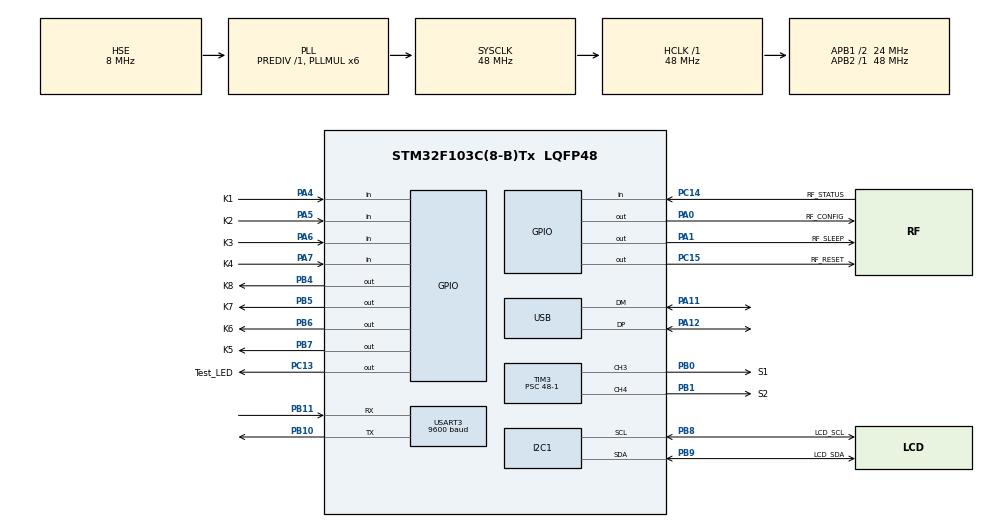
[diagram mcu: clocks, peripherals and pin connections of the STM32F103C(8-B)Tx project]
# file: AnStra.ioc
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Mcu.Family=STM32F1
Mcu.Name=STM32F103C(8-B)Tx
Mcu.Package=LQFP48
NVIC.PriorityGroup=NVIC_PRIORITYGROUP_4
NVIC.USART3_IRQn=true\:0\:0\:false\:false\:true\:true\:true
NVIC.USB_LP_CAN1_RX0_IRQn=true\:0\:0\:false\:false\:true\:false\:true
PA0-WKUP.GPIO_Label=RF_CONFIG
PA0-WKUP.PinState=GPIO_PIN_SET
PA0-WKUP.Signal=GPIO_Output
PA1.GPIO_Label=RF_SLEEP
PA1.Signal=GPIO_Output
PA11.Mode=Device
PA11.Signal=USB_DM
PA12.Mode=Device
PA12.Signal=USB_DP
PA13.Mode=Serial_Wire
PA13.Signal=SYS_JTMS-SWDIO
PA14.Mode=Serial_Wire
PA14.Signal=SYS_JTCK-SWCLK
PA4.GPIO_Label=K1
PA4.GPIO_PuPd=GPIO_PULLDOWN
PA4.Signal=GPIO_Input
PA5.GPIO_Label=K2
PA5.GPIO_PuPd=GPIO_PULLDOWN
PA5.Signal=GPIO_Input
PA6.GPIO_Label=K3
PA6.GPIO_PuPd=GPIO_PULLDOWN
PA6.Signal=GPIO_Input
PA7.GPIO_Label=K4
PA7.GPIO_PuPd=GPIO_PULLDOWN
PA7.Signal=GPIO_Input
PB0.GPIO_Label=S1
PB0.Signal=S_TIM3_CH3
PB1.GPIO_Label=S2
PB1.Signal=S_TIM3_CH4
PB10.Mode=Asynchronous
PB10.Signal=USART3_TX
PB11.Mode=Asynchronous
PB11.Signal=USART3_RX
PB4.GPIO_Label=K8
PB4.Signal=GPIO_Output
PB5.GPIO_Label=K7
PB5.Signal=GPIO_Output
PB6.GPIO_Label=K6
PB6.Signal=GPIO_Output
PB7.GPIO_Label=K5
PB7.Signal=GPIO_Output
PB8.GPIO_Label=LCD_SCL
PB8.Mode=I2C
PB8.Signal=I2C1_SCL
PB9.GPIO_Label=LCD_SDA
PB9.Mode=I2C
PB9.Signal=I2C1_SDA
PC13-TAMPER-RTC.GPIO_Label=Test_LED
PC13-TAMPER-RTC.Signal=GPIO_Output
PC14-OSC32_IN.GPIO_Label=RF_STATUS
PC14-OSC32_IN.Signal=GPIO_Input
PC15-OSC32_OUT.GPIO_Label=RF_RESET
PC15-OSC32_OUT.PinState=GPIO_PIN_SET
PC15-OSC32_OUT.Signal=GPIO_Output
PD0-OSC_IN.Mode=HSE-External-Oscillator
PD0-OSC_IN.Signal=RCC_OSC_IN
PD1-OSC_OUT.Mode=HSE-External-Oscillator
PD1-OSC_OUT.Signal=RCC_OSC_OUT
ProjectManager.HeapSize=0x200
ProjectManager.StackSize=0x400
ProjectManager.TargetToolchain=STM32CubeIDE
RCC.AHBFreq_Value=48000000
RCC.APB1CLKDivider=RCC_HCLK_DIV2
RCC.APB1Freq_Value=24000000
RCC.APB1TimFreq_Value=48000000
RCC.APB2Freq_Value=48000000
RCC.APB2TimFreq_Value=48000000
RCC.HCLKFreq_Value=48000000
RCC.PLLMUL=RCC_PLL_MUL6
RCC.PLLSourceVirtual=RCC_PLLSOURCE_HSE
RCC.SYSCLKFreq_VALUE=48000000
RCC.SYSCLKSource=RCC_SYSCLKSOURCE_PLLCLK
RCC.USBFreq_Value=48000000
SH.S_TIM3_CH3.0=TIM3_CH3,PWM Generation3 CH3
SH.S_TIM3_CH4.0=TIM3_CH4,PWM Generation4 CH4
TIM3.Channel-PWM\ Generation3\ CH3=TIM_CHANNEL_3
TIM3.Channel-PWM\ Generation4\ CH4=TIM_CHANNEL_4
TIM3.Period=20000-1
TIM3.Prescaler=48-1
USART3.BaudRate=9600
USART3.VirtualMode=VM_ASYNC
USB_DEVICE.CLASS_NAME_FS=CDC
USB_DEVICE.VirtualMode=Cdc
USB_DEVICE.VirtualModeFS=Cdc_FS
VP_TIM3_VS_ClockSourceINT.Mode=Internal
VP_USB_DEVICE_VS_USB_DEVICE_CDC_FS.Mode=CDC_FS
board=custom

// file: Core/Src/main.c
/* USER CODE BEGIN Header */
/**
  ******************************************************************************
  * @file           : main.c
  * @brief          : Main program body
  ******************************************************************************
  * @attention
  *
  * <h2><center>&copy; Copyright (c) 2022 STMicroelectronics.
  * All rights reserved.</center></h2>
  *
  * This software component is licensed by ST under BSD 3-Clause license,
  * the "License"; You may not use this file except in compliance with the
  * License. You may obtain a copy of the License at:
  *                        opensource.org/licenses/BSD-3-Clause
  *
  ******************************************************************************
  */
/* USER CODE END Header */
#include "main.h"
#include "usb_device.h"

/* USER CODE BEGIN Includes */
#include "usbd_cdc_if.h"
#include "lcd.h"
#include "klawiatura.h"
#include "utillib.h"
#include "anstra.h"

#include "stdio.h"
#include "stdlib.h"
#include "string.h"
#include "math.h"

/* USER CODE END Includes */

I2C_HandleTypeDef hi2c1;

TIM_HandleTypeDef htim3;

UART_HandleTypeDef huart3;

/* USER CODE BEGIN PV */

char change = 0;
char change_t = 0;

uint8_t RxData[101];
uint8_t RxDataIndex=0;
uint8_t USB_TxData[111];
char test[] = "pierwszy testowy komunikat";

int counter = 0;
/* USER CODE END PV */

void SystemClock_Config(void);
static void MX_GPIO_Init(void);
static void MX_TIM3_Init(void);
static void MX_I2C1_Init(void);
static void MX_USART3_UART_Init(void);

/* USER CODE BEGIN 0 */
void HAL_UART_RxCpltCallback(UART_HandleTypeDef *huart){
	if(huart->Instance==USART3){

		if((RxData[RxDataIndex] == (int)'#') && (RxData[0] == (int)'$')){
			RxData[RxDataIndex] = 0;
			RxDataIndex=0;

			char* num;
			if(strstr((char*)RxData, "SET_TARGET ") != NULL){
					num = strtok((char*)RxData," ");
					if(num!=NULL){num = strtok(NULL, " "); target_latitude = atof(num);}
					if(num!=NULL){num = strtok(NULL, " "); target_longitude = atof(num);}
					if(num!=NULL){num = strtok(NULL, " "); target_height = atof(num);}
				}

			sprintf((char*)USB_TxData, "odebrano TARGEt: %f %f %f\r\n", target_latitude, target_longitude, target_height);
			CDC_Transmit_FS(USB_TxData, strlen((char*)USB_TxData));

			change_t=1;
		}
		else{
			RxDataIndex++;
		}
		if(RxDataIndex>=100){RxDataIndex=0;}
		HAL_UART_Receive_IT(&huart3, &RxData[RxDataIndex], 1);
	}
}
/* USER CODE END 0 */

int main(void)
{

  /* MCU Configuration--------------------------------------------------------*/

  /* Reset of all peripherals, Initializes the Flash interface and the Systick. */
  HAL_Init();

  /* USER CODE BEGIN Init */
//	init_keyboard();

  /* USER CODE END Init */

  /* Configure the system clock */
  SystemClock_Config();

  /* Initialize all configured peripherals */
  MX_GPIO_Init();
  MX_USB_DEVICE_Init();
  MX_TIM3_Init();
  MX_I2C1_Init();
  MX_USART3_UART_Init();
  /* USER CODE BEGIN 2 */
  HAL_UART_Receive_IT(&huart3, &RxData[RxDataIndex], 1);
  init_keyboard();
  init_PWM();
  lcd_init();

  HAL_Delay(100);

  ha = 90; da = 0;

  set_ANSTRA_pos();

  int k;
  int tmp = -1;

  /* USER CODE END 2 */

  /* Infinite loop */
  /* USER CODE BEGIN WHILE */

  while (1)
  {
	  if(counter == 0){send_data();}
	  counter++; counter %= 20;

	  //send_data();

	  if( change ){
		  height_angle(ha);
		  direction_angle(da);
		  if( status == 1 )
			  display_angle();
		  change = 0;
	  }

	  if( change_t ){
		  	  target_to_angle();
	  		  height_angle(ha);
	  		  direction_angle(da);
	  		  if( status == 1 )
	  			  display_angle();
	  		  change_t = 0;
	  	  }

	  k = keyboard();
	  if( k >= 0 && tmp == -1 ){
		  blink();
		  if(k == 11){CDC_Transmit_FS((uint8_t*)test, strlen(test));}
		  if( k == 15 ){
			  if( status == 0 )
				  get_ANSTRA_pos( get_input() );

			  if( status == 2 )
				  get_ANSTRA_angle( get_input() );

			  if( status == 3 )
				  get_ANSTRA_target( get_input() );
		  }
		  if( status == 1 ){
			  if( k == 3 ){
				  set_ANSTRA_angle();
			  }

			  if( k == 7 ){
				  set_ANSTRA_target();
			  }
		  }
		  else
			  save_input(k);
	  }

	  tmp = k;
	  HAL_Delay(100);

    /* USER CODE END WHILE */

  }
}

void SystemClock_Config(void)
{
  RCC_OscInitTypeDef RCC_OscInitStruct = {0};
  RCC_ClkInitTypeDef RCC_ClkInitStruct = {0};
  RCC_PeriphCLKInitTypeDef PeriphClkInit = {0};

  /** Initializes the RCC Oscillators according to the specified parameters
  * in the RCC_OscInitTypeDef structure.
  */
  RCC_OscInitStruct.OscillatorType = RCC_OSCILLATORTYPE_HSE;
  RCC_OscInitStruct.HSEState = RCC_HSE_ON;
  RCC_OscInitStruct.HSEPredivValue = RCC_HSE_PREDIV_DIV1;
  RCC_OscInitStruct.HSIState = RCC_HSI_ON;
  RCC_OscInitStruct.PLL.PLLState = RCC_PLL_ON;
  RCC_OscInitStruct.PLL.PLLSource = RCC_PLLSOURCE_HSE;
  RCC_OscInitStruct.PLL.PLLMUL = RCC_PLL_MUL6;
  if (HAL_RCC_OscConfig(&RCC_OscInitStruct) != HAL_OK)
  {
    Error_Handler();
  }
  /** Initializes the CPU, AHB and APB buses clocks
  */
  RCC_ClkInitStruct.ClockType = RCC_CLOCKTYPE_HCLK|RCC_CLOCKTYPE_SYSCLK
                              |RCC_CLOCKTYPE_PCLK1|RCC_CLOCKTYPE_PCLK2;
  RCC_ClkInitStruct.SYSCLKSource = RCC_SYSCLKSOURCE_PLLCLK;
  RCC_ClkInitStruct.AHBCLKDivider = RCC_SYSCLK_DIV1;
  RCC_ClkInitStruct.APB1CLKDivider = RCC_HCLK_DIV2;
  RCC_ClkInitStruct.APB2CLKDivider = RCC_HCLK_DIV1;

  if (HAL_RCC_ClockConfig(&RCC_ClkInitStruct, FLASH_LATENCY_1) != HAL_OK)
  {
    Error_Handler();
  }
  PeriphClkInit.PeriphClockSelection = RCC_PERIPHCLK_USB;
  PeriphClkInit.UsbClockSelection = RCC_USBCLKSOURCE_PLL;
  if (HAL_RCCEx_PeriphCLKConfig(&PeriphClkInit) != HAL_OK)
  {
    Error_Handler();
  }
}

static void MX_I2C1_Init(void)
{

  hi2c1.Instance = I2C1;
  hi2c1.Init.ClockSpeed = 100000;
  hi2c1.Init.DutyCycle = I2C_DUTYCYCLE_2;
  hi2c1.Init.OwnAddress1 = 0;
  hi2c1.Init.AddressingMode = I2C_ADDRESSINGMODE_7BIT;
  hi2c1.Init.DualAddressMode = I2C_DUALADDRESS_DISABLE;
  hi2c1.Init.OwnAddress2 = 0;
  hi2c1.Init.GeneralCallMode = I2C_GENERALCALL_DISABLE;
  hi2c1.Init.NoStretchMode = I2C_NOSTRETCH_DISABLE;
  if (HAL_I2C_Init(&hi2c1) != HAL_OK)
  {
    Error_Handler();
  }

}

static void MX_TIM3_Init(void)
{

  TIM_ClockConfigTypeDef sClockSourceConfig = {0};
  TIM_MasterConfigTypeDef sMasterConfig = {0};
  TIM_OC_InitTypeDef sConfigOC = {0};

  htim3.Instance = TIM3;
  htim3.Init.Prescaler = 48-1;
  htim3.Init.CounterMode = TIM_COUNTERMODE_UP;
  htim3.Init.Period = 20000-1;
  htim3.Init.ClockDivision = TIM_CLOCKDIVISION_DIV1;
  htim3.Init.AutoReloadPreload = TIM_AUTORELOAD_PRELOAD_DISABLE;
  if (HAL_TIM_Base_Init(&htim3) != HAL_OK)
  {
    Error_Handler();
  }
  sClockSourceConfig.ClockSource = TIM_CLOCKSOURCE_INTERNAL;
  if (HAL_TIM_ConfigClockSource(&htim3, &sClockSourceConfig) != HAL_OK)
  {
    Error_Handler();
  }
  if (HAL_TIM_PWM_Init(&htim3) != HAL_OK)
  {
    Error_Handler();
  }
  sMasterConfig.MasterOutputTrigger = TIM_TRGO_RESET;
  sMasterConfig.MasterSlaveMode = TIM_MASTERSLAVEMODE_DISABLE;
  if (HAL_TIMEx_MasterConfigSynchronization(&htim3, &sMasterConfig) != HAL_OK)
  {
    Error_Handler();
  }
  sConfigOC.OCMode = TIM_OCMODE_PWM1;
  sConfigOC.Pulse = 0;
  sConfigOC.OCPolarity = TIM_OCPOLARITY_HIGH;
  sConfigOC.OCFastMode = TIM_OCFAST_DISABLE;
  if (HAL_TIM_PWM_ConfigChannel(&htim3, &sConfigOC, TIM_CHANNEL_3) != HAL_OK)
  {
    Error_Handler();
  }
  if (HAL_TIM_PWM_ConfigChannel(&htim3, &sConfigOC, TIM_CHANNEL_4) != HAL_OK)
  {
    Error_Handler();
  }
  HAL_TIM_MspPostInit(&htim3);

}

static void MX_USART3_UART_Init(void)
{

  huart3.Instance = USART3;
  huart3.Init.BaudRate = 9600;
  huart3.Init.WordLength = UART_WORDLENGTH_8B;
  huart3.Init.StopBits = UART_STOPBITS_1;
  huart3.Init.Parity = UART_PARITY_NONE;
  huart3.Init.Mode = UART_MODE_TX_RX;
  huart3.Init.HwFlowCtl = UART_HWCONTROL_NONE;
  huart3.Init.OverSampling = UART_OVERSAMPLING_16;
  if (HAL_UART_Init(&huart3) != HAL_OK)
  {
    Error_Handler();
  }

}

static void MX_GPIO_Init(void)
{
  GPIO_InitTypeDef GPIO_InitStruct = {0};

  /* GPIO Ports Clock Enable */
  __HAL_RCC_GPIOC_CLK_ENABLE();
  __HAL_RCC_GPIOD_CLK_ENABLE();
  __HAL_RCC_GPIOA_CLK_ENABLE();
  __HAL_RCC_GPIOB_CLK_ENABLE();

  /*Configure GPIO pin Output Level */
  HAL_GPIO_WritePin(Test_LED_GPIO_Port, Test_LED_Pin, GPIO_PIN_RESET);

  /*Configure GPIO pin Output Level */
  HAL_GPIO_WritePin(RF_RESET_GPIO_Port, RF_RESET_Pin, GPIO_PIN_SET);

  /*Configure GPIO pin Output Level */
  HAL_GPIO_WritePin(RF_CONFIG_GPIO_Port, RF_CONFIG_Pin, GPIO_PIN_SET);

  /*Configure GPIO pin Output Level */
  HAL_GPIO_WritePin(RF_SLEEP_GPIO_Port, RF_SLEEP_Pin, GPIO_PIN_RESET);

  /*Configure GPIO pin Output Level */
  HAL_GPIO_WritePin(GPIOB, K8_Pin|K7_Pin|K6_Pin|K5_Pin, GPIO_PIN_RESET);

  /*Configure GPIO pins : Test_LED_Pin RF_RESET_Pin */
  GPIO_InitStruct.Pin = Test_LED_Pin|RF_RESET_Pin;
  GPIO_InitStruct.Mode = GPIO_MODE_OUTPUT_PP;
  GPIO_InitStruct.Pull = GPIO_NOPULL;
  GPIO_InitStruct.Speed = GPIO_SPEED_FREQ_LOW;
  HAL_GPIO_Init(GPIOC, &GPIO_InitStruct);

  /*Configure GPIO pin : RF_STATUS_Pin */
  GPIO_InitStruct.Pin = RF_STATUS_Pin;
  GPIO_InitStruct.Mode = GPIO_MODE_INPUT;
  GPIO_InitStruct.Pull = GPIO_NOPULL;
  HAL_GPIO_Init(RF_STATUS_GPIO_Port, &GPIO_InitStruct);

  /*Configure GPIO pins : RF_CONFIG_Pin RF_SLEEP_Pin */
  GPIO_InitStruct.Pin = RF_CONFIG_Pin|RF_SLEEP_Pin;
  GPIO_InitStruct.Mode = GPIO_MODE_OUTPUT_PP;
  GPIO_InitStruct.Pull = GPIO_NOPULL;
  GPIO_InitStruct.Speed = GPIO_SPEED_FREQ_LOW;
  HAL_GPIO_Init(GPIOA, &GPIO_InitStruct);

  /*Configure GPIO pins : K1_Pin K2_Pin K3_Pin K4_Pin */
  GPIO_InitStruct.Pin = K1_Pin|K2_Pin|K3_Pin|K4_Pin;
  GPIO_InitStruct.Mode = GPIO_MODE_INPUT;
  GPIO_InitStruct.Pull = GPIO_PULLDOWN;
  HAL_GPIO_Init(GPIOA, &GPIO_InitStruct);

  /*Configure GPIO pins : K8_Pin K7_Pin K6_Pin K5_Pin */
  GPIO_InitStruct.Pin = K8_Pin|K7_Pin|K6_Pin|K5_Pin;
  GPIO_InitStruct.Mode = GPIO_MODE_OUTPUT_PP;
  GPIO_InitStruct.Pull = GPIO_NOPULL;
  GPIO_InitStruct.Speed = GPIO_SPEED_FREQ_LOW;
  HAL_GPIO_Init(GPIOB, &GPIO_InitStruct);

}

void Error_Handler(void)
{
}

/************************ (C) COPYRIGHT STMicroelectronics *****END OF FILE****/
